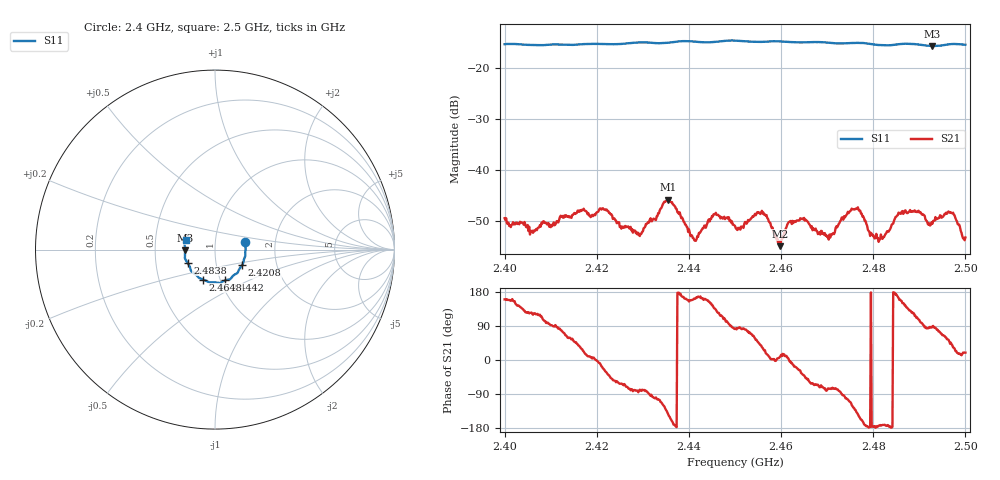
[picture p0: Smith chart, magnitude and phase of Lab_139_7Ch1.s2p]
# Hz S RI R 50
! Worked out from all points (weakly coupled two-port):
!   601 points, 2.4 GHz to 2.5 GHz, reference 50 ohm
!   highest |S21| = -45.87 dB at 2.4355 GHz (marker M1); lowest = -55.0 dB at 2.4598 GHz (marker M2)
!   lowest |S11| = -15.6 dB at 2.4928 GHz (marker M3), VSWR 1.40, Z = 35.8 - j0.363 ohm
!   |S11| at or under -10 dB: start of sweep to end of sweep
!   S12 and S22 are empty: the file has one direction only
!   S11 on the Smith chart (normalised r, x): 2.4 GHz: 1.40, +0.12; 2.4208 GHz: 1.33, -0.24; 2.4442 GHz: 1.05, -0.37; 2.4648 GHz: 0.83, -0.29; 2.4838 GHz: 0.73, -0.11; 2.5 GHz: 0.72, +0.08
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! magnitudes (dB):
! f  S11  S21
! 2.4 GHz  -15.2  -49.5
! 2.406 GHz  -15.4  -52.0
! 2.4167 GHz  -15.2  -47.9
! 2.4208 GHz  -15.2  -47.6
! 2.4292 GHz  -14.9  -52.8
! 2.4333 GHz  -15.0  -48.5
! 2.4355 GHz  -15.0  -45.9
! 2.4412 GHz  -14.7  -53.8
! 2.4442 GHz  -14.9  -49.9
! 2.45 GHz  -14.5  -51.0
! 2.4557 GHz  -14.8  -48.4
! 2.4598 GHz  -14.7  -55.0
! 2.4648 GHz  -14.9  -49.7
! 2.4667 GHz  -14.8  -51.1
! 2.4705 GHz  -15.0  -52.7
! 2.4762 GHz  -15.0  -47.6
! 2.4798 GHz  -15.3  -52.9
! 2.4833 GHz  -15.5  -52.2
! 2.4838 GHz  -15.4  -51.3
! 2.4928 GHz  -15.6  -50.6
! 2.4968 GHz  -15.2  -48.3
! 2.5 GHz  -15.3  -53.3
